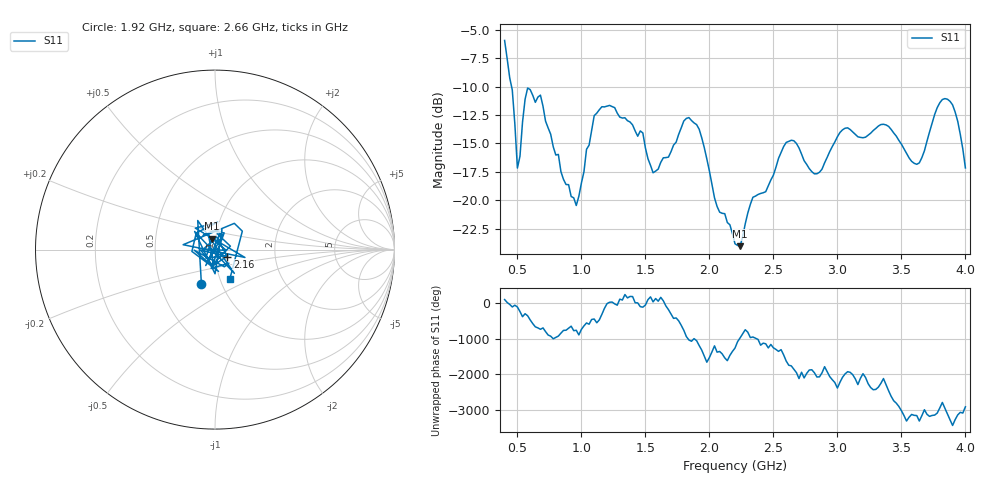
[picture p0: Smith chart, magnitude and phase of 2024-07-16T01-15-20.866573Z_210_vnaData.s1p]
!Created with skrf (http://scikit-rf.org).
# Hz S RI R 50.0
!freq ReS11 ImS11
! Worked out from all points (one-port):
!   181 points, 400 MHz to 4 GHz, reference 50 ohm
!   lowest |S11| = -24.0 dB at 2.24 GHz (marker M1), VSWR 1.13, Z = 48.1 + j5.87 ohm
!   |S11| at or under -10 dB: 454.2 MHz to end of sweep
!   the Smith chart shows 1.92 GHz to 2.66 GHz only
!   S11 on the Smith chart (normalised r, x): 1.92 GHz: 0.80, -0.32; 2.16 GHz: 1.14, -0.09; 2.66 GHz: 1.11, -0.38
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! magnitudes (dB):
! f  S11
! 400 MHz  -6.0
! 460 MHz  -10.3
! 500 MHz  -17.2
! 580 MHz  -10.1
! 680 MHz  -10.8
! 860 MHz  -18.2
! 960 MHz  -20.4
! 1.1 GHz  -12.6
! 1.3 GHz  -12.7
! 1.48 GHz  -14.1
! 1.56 GHz  -17.6
! 1.76 GHz  -14.2
! 1.84 GHz  -12.7
! 1.92 GHz  -13.7
! 2.06 GHz  -20.5
! 2.16 GHz  -22.1
! 2.2 GHz  -23.8
! 2.24 GHz  -24.0
! 2.34 GHz  -19.7
! 2.66 GHz  -14.8
! 2.84 GHz  -17.7
! 3.1 GHz  -13.8
! 3.38 GHz  -13.4
! 3.56 GHz  -16.3
! 3.64 GHz  -16.7
! 3.84 GHz  -11.1
! 3.92 GHz  -12.2
! 4 GHz  -17.1
